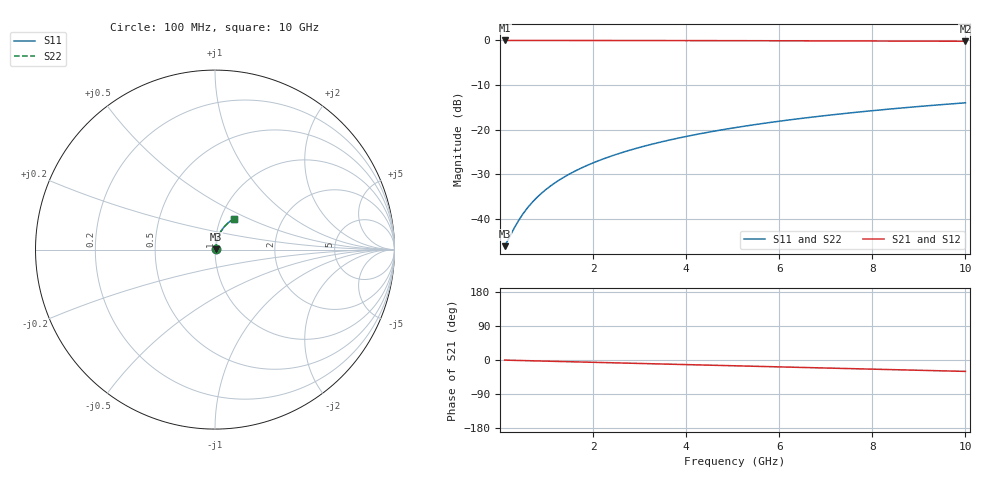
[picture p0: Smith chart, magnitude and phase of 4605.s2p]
# Hz S RI R 50.00
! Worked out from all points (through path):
!   100 points, 100 MHz to 10 GHz, reference 50 ohm
!   highest |S21| = -0.04 dB at 100 MHz (marker M1); lowest = -0.2 dB at 10 GHz (marker M2)
!   group delay of S21, straight-line fit = 8.36 ps
!   lowest |S11| = -46.1 dB at 100 MHz (marker M3), VSWR 1.01, Z = 50.4 + j0.21 ohm
!   |S11| at or under -10 dB: start of sweep to end of sweep
!   |S22| runs from -46.1 to -14.0 dB; largest |S21 - S12| = 0
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1e8  0.00448 0.00209  0.9955 -0.00527  0.9955 -0.00527  0.00448 0.00209
3e8  0.00462 0.00625  0.9953 -0.0158  0.9953 -0.0158  0.00462 0.00625
4e8  0.00471 0.00834  0.9952 -0.0211  0.9952 -0.0211  0.00471 0.00834
5e8  0.00483 0.0104  0.995 -0.0264  0.995 -0.0264  0.00483 0.0104
6e8  0.00496 0.0125  0.9948 -0.0316  0.9948 -0.0316  0.00496 0.0125
7e8  0.00511 0.0146  0.9946 -0.0369  0.9946 -0.0369  0.00511 0.0146
8e8  0.00529 0.0167  0.9944 -0.0422  0.9944 -0.0422  0.00529 0.0167
1e9  0.0057 0.0208  0.9938 -0.0527  0.9938 -0.0527  0.0057 0.0208
1.2e9  0.00621 0.0249  0.993 -0.0632  0.993 -0.0632  0.00621 0.0249
1.5e9  0.00712 0.0311  0.9917 -0.0789  0.9917 -0.0789  0.00712 0.0311
1.8e9  0.00822 0.0373  0.9901 -0.0947  0.9901 -0.0947  0.00822 0.0373
2.1e9  0.00952 0.0434  0.9882 -0.1103  0.9882 -0.1103  0.00952 0.0434
2.5e9  0.0116 0.0514  0.9852 -0.1312  0.9852 -0.1312  0.0116 0.0514
2.9e9  0.0139 0.0594  0.9817 -0.1519  0.9817 -0.1519  0.0139 0.0594
3.4e9  0.0173 0.0692  0.9766 -0.1776  0.9766 -0.1776  0.0173 0.0692
4.2e9  0.0239 0.0845  0.967 -0.2184  0.967 -0.2184  0.0239 0.0845
5.1e9  0.0327 0.1008  0.9538 -0.2635  0.9538 -0.2635  0.0327 0.1008
5.9e9  0.0418 0.1146  0.9401 -0.3028  0.9401 -0.3028  0.0418 0.1146
6.7e9  0.052 0.1275  0.9246 -0.3412  0.9246 -0.3412  0.052 0.1275
7.5e9  0.0632 0.1395  0.9075 -0.3787  0.9075 -0.3787  0.0632 0.1395
8.4e9  0.077 0.1518  0.8862 -0.4196  0.8862 -0.4196  0.077 0.1518
1e10  0.1038 0.1702  0.8437 -0.4887  0.8437 -0.4887  0.1038 0.1702
